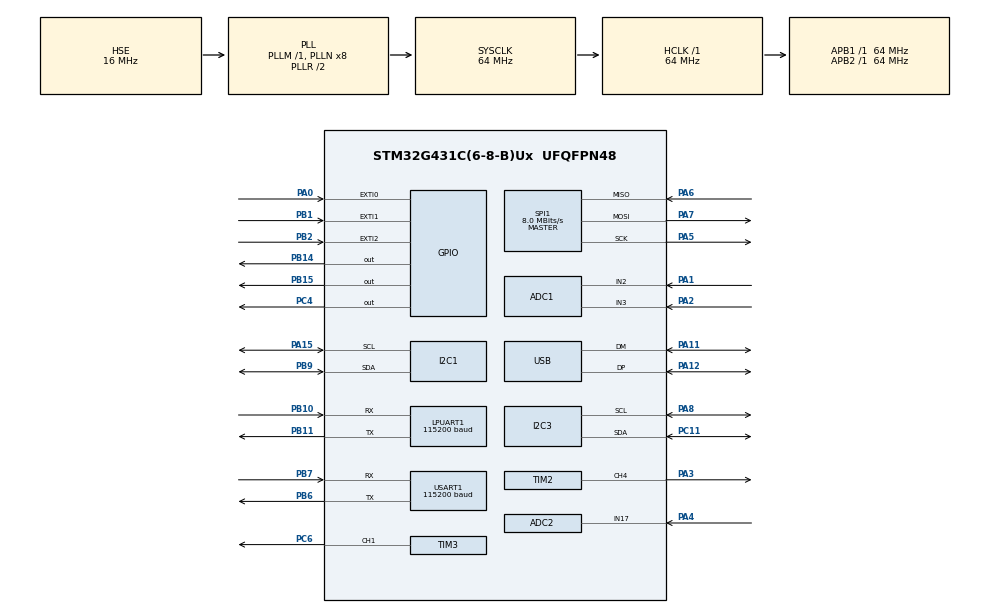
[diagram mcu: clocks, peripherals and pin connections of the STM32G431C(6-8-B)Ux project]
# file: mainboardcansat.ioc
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ADC1.Channel-0\#ChannelRegularConversion=ADC_CHANNEL_VREFINT
ADC1.Channel-1\#ChannelRegularConversion=ADC_CHANNEL_TEMPSENSOR_ADC1
ADC1.Channel-2\#ChannelRegularConversion=ADC_CHANNEL_2
ADC1.Channel-3\#ChannelRegularConversion=ADC_CHANNEL_3
ADC1.ContinuousConvMode=ENABLE
ADC1.EOCSelection=ADC_EOC_SEQ_CONV
ADC1.ExternalTrigConv=ADC_EXTERNALTRIG_T4_TRGO
ADC1.NbrOfConversion=4
ADC1.NbrOfConversionFlag=1
ADC1.OffsetNumber-0\#ChannelRegularConversion=ADC_OFFSET_NONE
ADC1.OffsetNumber-1\#ChannelRegularConversion=ADC_OFFSET_NONE
ADC1.OffsetNumber-2\#ChannelRegularConversion=ADC_OFFSET_NONE
ADC1.OffsetNumber-3\#ChannelRegularConversion=ADC_OFFSET_NONE
ADC1.Rank-0\#ChannelRegularConversion=1
ADC1.Rank-1\#ChannelRegularConversion=2
ADC1.Rank-2\#ChannelRegularConversion=3
ADC1.Rank-3\#ChannelRegularConversion=4
ADC1.SamplingTime-0\#ChannelRegularConversion=ADC_SAMPLETIME_640CYCLES_5
ADC1.SamplingTime-1\#ChannelRegularConversion=ADC_SAMPLETIME_640CYCLES_5
ADC1.SamplingTime-2\#ChannelRegularConversion=ADC_SAMPLETIME_640CYCLES_5
ADC1.SamplingTime-3\#ChannelRegularConversion=ADC_SAMPLETIME_640CYCLES_5
ADC1.master=1
ADC2.Channel-0\#ChannelRegularConversion=ADC_CHANNEL_17
ADC2.ContinuousConvMode=ENABLE
ADC2.ExternalTrigConv=ADC_EXTERNALTRIG_T4_TRGO
ADC2.NbrOfConversionFlag=1
ADC2.OffsetNumber-0\#ChannelRegularConversion=ADC_OFFSET_NONE
ADC2.Rank-0\#ChannelRegularConversion=1
ADC2.SamplingTime-0\#ChannelRegularConversion=ADC_SAMPLETIME_640CYCLES_5
Dma.ADC1.2.Direction=DMA_PERIPH_TO_MEMORY
Dma.ADC1.2.EventEnable=DISABLE
Dma.ADC1.2.Instance=DMA1_Channel3
Dma.ADC1.2.MemDataAlignment=DMA_MDATAALIGN_HALFWORD
Dma.ADC1.2.MemInc=DMA_MINC_ENABLE
Dma.ADC1.2.Mode=DMA_CIRCULAR
Dma.ADC1.2.PeriphDataAlignment=DMA_PDATAALIGN_HALFWORD
Dma.ADC1.2.PeriphInc=DMA_PINC_DISABLE
Dma.ADC1.2.Polarity=HAL_DMAMUX_REQ_GEN_RISING
Dma.ADC1.2.Priority=DMA_PRIORITY_LOW
Dma.ADC1.2.RequestNumber=1
Dma.ADC1.2.SignalID=NONE
Dma.ADC1.2.SyncEnable=DISABLE
Dma.ADC1.2.SyncPolarity=HAL_DMAMUX_SYNC_NO_EVENT
Dma.ADC1.2.SyncRequestNumber=1
Dma.ADC1.2.SyncSignalID=NONE
Dma.ADC2.4.Direction=DMA_PERIPH_TO_MEMORY
Dma.ADC2.4.EventEnable=DISABLE
Dma.ADC2.4.Instance=DMA1_Channel5
Dma.ADC2.4.MemDataAlignment=DMA_MDATAALIGN_HALFWORD
Dma.ADC2.4.MemInc=DMA_MINC_ENABLE
Dma.ADC2.4.Mode=DMA_CIRCULAR
Dma.ADC2.4.PeriphDataAlignment=DMA_PDATAALIGN_HALFWORD
Dma.ADC2.4.PeriphInc=DMA_PINC_DISABLE
Dma.ADC2.4.Polarity=HAL_DMAMUX_REQ_GEN_RISING
Dma.ADC2.4.Priority=DMA_PRIORITY_LOW
Dma.ADC2.4.RequestNumber=1
Dma.ADC2.4.SignalID=NONE
Dma.ADC2.4.SyncEnable=DISABLE
Dma.ADC2.4.SyncPolarity=HAL_DMAMUX_SYNC_NO_EVENT
Dma.ADC2.4.SyncRequestNumber=1
Dma.ADC2.4.SyncSignalID=NONE
Dma.LPUART1_RX.0.Direction=DMA_PERIPH_TO_MEMORY
Dma.LPUART1_RX.0.EventEnable=DISABLE
Dma.LPUART1_RX.0.Instance=DMA1_Channel1
Dma.LPUART1_RX.0.MemDataAlignment=DMA_MDATAALIGN_BYTE
Dma.LPUART1_RX.0.MemInc=DMA_MINC_ENABLE
Dma.LPUART1_RX.0.Mode=DMA_CIRCULAR
Dma.LPUART1_RX.0.PeriphDataAlignment=DMA_PDATAALIGN_BYTE
Dma.LPUART1_RX.0.PeriphInc=DMA_PINC_DISABLE
Dma.LPUART1_RX.0.Polarity=HAL_DMAMUX_REQ_GEN_RISING
Dma.LPUART1_RX.0.Priority=DMA_PRIORITY_LOW
Dma.LPUART1_RX.0.RequestNumber=1
Dma.LPUART1_RX.0.SignalID=NONE
Dma.LPUART1_RX.0.SyncEnable=DISABLE
Dma.LPUART1_RX.0.SyncPolarity=HAL_DMAMUX_SYNC_NO_EVENT
Dma.LPUART1_RX.0.SyncRequestNumber=1
Dma.LPUART1_RX.0.SyncSignalID=NONE
Dma.LPUART1_TX.1.Direction=DMA_MEMORY_TO_PERIPH
Dma.LPUART1_TX.1.EventEnable=DISABLE
Dma.LPUART1_TX.1.Instance=DMA1_Channel2
Dma.LPUART1_TX.1.MemDataAlignment=DMA_MDATAALIGN_BYTE
Dma.LPUART1_TX.1.MemInc=DMA_MINC_ENABLE
Dma.LPUART1_TX.1.Mode=DMA_NORMAL
Dma.LPUART1_TX.1.PeriphDataAlignment=DMA_PDATAALIGN_BYTE
Dma.LPUART1_TX.1.PeriphInc=DMA_PINC_DISABLE
Dma.LPUART1_TX.1.Polarity=HAL_DMAMUX_REQ_GEN_RISING
Dma.LPUART1_TX.1.Priority=DMA_PRIORITY_LOW
Dma.LPUART1_TX.1.RequestNumber=1
Dma.LPUART1_TX.1.SignalID=NONE
Dma.LPUART1_TX.1.SyncEnable=DISABLE
Dma.LPUART1_TX.1.SyncPolarity=HAL_DMAMUX_SYNC_NO_EVENT
Dma.LPUART1_TX.1.SyncRequestNumber=1
Dma.LPUART1_TX.1.SyncSignalID=NONE
Dma.Request0=LPUART1_RX
Dma.Request1=LPUART1_TX
Dma.Request2=ADC1
Dma.Request3=USART1_RX
Dma.Request4=ADC2
Dma.Request5=TIM2_CH4
Dma.TIM2_CH4.5.Direction=DMA_MEMORY_TO_PERIPH
Dma.TIM2_CH4.5.EventEnable=DISABLE
Dma.TIM2_CH4.5.Instance=DMA1_Channel6
Dma.TIM2_CH4.5.MemDataAlignment=DMA_MDATAALIGN_WORD
Dma.TIM2_CH4.5.MemInc=DMA_MINC_ENABLE
Dma.TIM2_CH4.5.Mode=DMA_NORMAL
Dma.TIM2_CH4.5.PeriphDataAlignment=DMA_PDATAALIGN_WORD
Dma.TIM2_CH4.5.PeriphInc=DMA_PINC_DISABLE
Dma.TIM2_CH4.5.Polarity=HAL_DMAMUX_REQ_GEN_RISING
Dma.TIM2_CH4.5.Priority=DMA_PRIORITY_LOW
Dma.TIM2_CH4.5.RequestNumber=1
Dma.TIM2_CH4.5.SignalID=NONE
Dma.TIM2_CH4.5.SyncEnable=DISABLE
Dma.TIM2_CH4.5.SyncPolarity=HAL_DMAMUX_SYNC_NO_EVENT
Dma.TIM2_CH4.5.SyncRequestNumber=1
Dma.TIM2_CH4.5.SyncSignalID=NONE
Dma.USART1_RX.3.Direction=DMA_PERIPH_TO_MEMORY
Dma.USART1_RX.3.EventEnable=DISABLE
Dma.USART1_RX.3.Instance=DMA1_Channel4
Dma.USART1_RX.3.MemDataAlignment=DMA_MDATAALIGN_BYTE
Dma.USART1_RX.3.MemInc=DMA_MINC_ENABLE
Dma.USART1_RX.3.Mode=DMA_CIRCULAR
Dma.USART1_RX.3.PeriphDataAlignment=DMA_PDATAALIGN_BYTE
Dma.USART1_RX.3.PeriphInc=DMA_PINC_DISABLE
Dma.USART1_RX.3.Polarity=HAL_DMAMUX_REQ_GEN_RISING
Dma.USART1_RX.3.Priority=DMA_PRIORITY_LOW
Dma.USART1_RX.3.RequestNumber=1
Dma.USART1_RX.3.SignalID=NONE
Dma.USART1_RX.3.SyncEnable=DISABLE
Dma.USART1_RX.3.SyncPolarity=HAL_DMAMUX_SYNC_NO_EVENT
Dma.USART1_RX.3.SyncRequestNumber=1
Dma.USART1_RX.3.SyncSignalID=NONE
I2C1.Timing=0x10B17DB5
I2C3.Timing=0x10B17DB5
LPUART1.BaudRate=115200
Mcu.Family=STM32G4
Mcu.Name=STM32G431C(6-8-B)Ux
Mcu.Package=UFQFPN48
NVIC.DMA1_Channel1_IRQn=true\:0\:0\:false\:false\:true\:false\:true\:true
NVIC.DMA1_Channel2_IRQn=true\:0\:0\:false\:false\:true\:false\:true\:true
NVIC.DMA1_Channel3_IRQn=true\:0\:0\:false\:false\:true\:false\:true\:true
NVIC.DMA1_Channel4_IRQn=true\:0\:0\:false\:false\:true\:false\:true\:true
NVIC.DMA1_Channel5_IRQn=true\:0\:0\:false\:false\:true\:false\:true\:true
NVIC.DMA1_Channel6_IRQn=true\:0\:0\:false\:false\:true\:false\:true\:true
NVIC.EXTI0_IRQn=true\:0\:0\:false\:false\:true\:true\:true\:true
NVIC.EXTI1_IRQn=true\:0\:0\:false\:false\:true\:true\:true\:true
NVIC.EXTI2_IRQn=true\:0\:0\:false\:false\:true\:true\:true\:true
NVIC.LPUART1_IRQn=true\:0\:0\:false\:false\:true\:true\:true\:true
NVIC.PriorityGroup=NVIC_PRIORITYGROUP_4
NVIC.TIM2_IRQn=true\:0\:0\:false\:false\:true\:true\:true\:true
NVIC.TIM3_IRQn=true\:0\:0\:false\:false\:true\:true\:true\:true
NVIC.TIM4_IRQn=true\:0\:0\:false\:false\:true\:true\:true\:true
NVIC.USART1_IRQn=true\:0\:0\:false\:false\:true\:true\:true\:true
PA0.Signal=GPXTI0
PA1.Mode=IN2-Single-Ended
PA1.Signal=ADC1_IN2
PA11.Mode=Device
PA11.Signal=USB_DM
PA12.Mode=Device
PA12.Signal=USB_DP
PA13.Mode=Trace_Asynchronous_SW
PA13.Signal=SYS_JTMS-SWDIO
PA14.Mode=Trace_Asynchronous_SW
PA14.Signal=SYS_JTCK-SWCLK
PA15.Mode=I2C
PA15.Signal=I2C1_SCL
PA2.Mode=IN3-Single-Ended
PA2.Signal=ADC1_IN3
PA3.Signal=S_TIM2_CH4
PA4.Mode=IN17-Single-Ended
PA4.Signal=ADC2_IN17
PA5.Mode=Full_Duplex_Master
PA5.Signal=SPI1_SCK
PA6.Mode=Full_Duplex_Master
PA6.Signal=SPI1_MISO
PA7.Mode=Full_Duplex_Master
PA7.Signal=SPI1_MOSI
PA8.Mode=I2C
PA8.Signal=I2C3_SCL
PB1.Signal=GPXTI1
PB10.Mode=Asynchronous
PB10.Signal=LPUART1_RX
PB11.Mode=Asynchronous
PB11.Signal=LPUART1_TX
PB14.Signal=GPIO_Output
PB15.Signal=GPIO_Output
PB2.Signal=GPXTI2
PB3.Mode=Trace_Asynchronous_SW
PB3.Signal=SYS_JTDO-SWO
PB6.Mode=Asynchronous
PB6.Signal=USART1_TX
PB7.Mode=Asynchronous
PB7.Signal=USART1_RX
PB9.Mode=I2C
PB9.Signal=I2C1_SDA
PC11.Mode=I2C
PC11.Signal=I2C3_SDA
PC4.Signal=GPIO_Output
PC6.Signal=S_TIM3_CH1
PF0-OSC_IN.Mode=HSE-External-Oscillator
PF0-OSC_IN.Signal=RCC_OSC_IN
PF1-OSC_OUT.Mode=HSE-External-Oscillator
PF1-OSC_OUT.Signal=RCC_OSC_OUT
ProjectManager.HeapSize=0x200
ProjectManager.StackSize=0x400
ProjectManager.TargetToolchain=STM32CubeIDE
RCC.ADC12Freq_Value=64000000
RCC.AHBFreq_Value=64000000
RCC.APB1Freq_Value=64000000
RCC.APB1TimFreq_Value=64000000
RCC.APB2Freq_Value=64000000
RCC.APB2TimFreq_Value=64000000
RCC.CK48CLockSelection=RCC_USBCLKSOURCE_HSI48
RCC.CortexFreq_Value=64000000
RCC.EXTERNAL_CLOCK_VALUE=12288000
RCC.HCLKFreq_Value=64000000
RCC.HSE_VALUE=16000000
RCC.HSI48_VALUE=48000000
RCC.HSI_VALUE=16000000
RCC.LSE_VALUE=32768
RCC.PLLSourceVirtual=RCC_PLLSOURCE_HSE
RCC.SYSCLKFreq_VALUE=64000000
RCC.SYSCLKSource=RCC_SYSCLKSOURCE_PLLCLK
RCC.USART1CLockSelection=RCC_USART1CLKSOURCE_HSI
RCC.USBFreq_Value=48000000
RCC.VCOOutputFreq_Value=128000000
SH.S_TIM2_CH4.0=TIM2_CH4,PWM Generation4 CH4
SH.S_TIM3_CH1.0=TIM3_CH1,PWM Generation1 CH1
SPI1.BaudRatePrescaler=SPI_BAUDRATEPRESCALER_8
SPI1.CalculateBaudRate=8.0 MBits/s
SPI1.DataSize=SPI_DATASIZE_8BIT
SPI1.Direction=SPI_DIRECTION_2LINES
SPI1.Mode=SPI_MODE_MASTER
SPI1.VirtualType=VM_MASTER
TIM2.Channel-PWM\ Generation4\ CH4=TIM_CHANNEL_4
TIM2.PeriodNoDither=80-1
TIM3.Channel-PWM\ Generation1\ CH1=TIM_CHANNEL_1
TIM3.PeriodNoDither=20000-1
TIM3.Prescaler=64-1
TIM3.PulseNoDither_1=1000
TIM4.Channel-PWM\ Generation3\ No\ Output=TIM_CHANNEL_3
TIM4.PeriodNoDither=999
TIM4.Prescaler=63
TIM4.TIM_MasterOutputTrigger=TIM_TRGO_UPDATE
USART1.BaudRate=115200
USART1.VirtualMode-Asynchronous=VM_ASYNC
VP_ADC1_TempSens_Input.Mode=IN-TempSens
VP_ADC1_Vref_Input.Mode=IN-Vrefint
VP_FATFS_VS_Generic.Mode=User_defined
VP_SYS_VS_DBSignals.Mode=DisableDeadBatterySignals
VP_TIM3_VS_ClockSourceINT.Mode=Internal
VP_TIM4_VS_ClockSourceINT.Mode=Internal
VP_TIM4_VS_no_output3.Mode=PWM Generation3 No Output
board=custom

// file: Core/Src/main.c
/* USER CODE BEGIN Header */
/**
  ******************************************************************************
  * @file           : main.c
  * @brief          : Main program body
  ******************************************************************************
  * @attention
  *
  * Copyright (c) 2024 STMicroelectronics.
  * All rights reserved.
  *
  * This software is licensed under terms that can be found in the LICENSE file
  * in the root directory of this software component.
  * If no LICENSE file comes with this software, it is provided AS-IS.
  *
  ******************************************************************************
  */
/* USER CODE END Header */
#include "main.h"
#include "adc.h"
#include "dma.h"
#include "app_fatfs.h"
#include "i2c.h"
#include "usart.h"
#include "spi.h"
#include "tim.h"
#include "usb.h"
#include "gpio.h"

/* USER CODE BEGIN Includes */
#include "fatfs_sd.h"
#include "nmea_parse.h"
#include "baro.h"
#include "6axis.h"
#include "led.h"

/* USER CODE END Includes */

/* USER CODE BEGIN PV */
#define PIN_ENABLE GPIO_PIN_15
#define LED_ROUGE GPIO_PIN_14

FATFS fs;
FATFS *pfs;
FIL fil;
FRESULT fres;
DWORD fre_clust;
uint32_t total, free1;
uint8_t buffer[100] = "";

uint8_t tarvos_TX_Buffer[TarvosTxBufferSize];
uint8_t tarvos_TX_Tampon[TarvosTxTamponSize];
uint8_t tarvos_RX_Buffer[TarvosRxBufferSize];
uint8_t tarvos_RX_Tampon[TarvosRxTamponSize];
uint8_t GPS_RX_Buffer[GPSRxBufferSize];
uint8_t GPS_RX_Tampon[GPSRxTamponSize];

uint8_t usart_buffer[BUFFER_SIZE];

uint8_t SD_Card_Write_Buffer[256];

int GPSbufferoldpos=0;
int GPSbuffernewpos=0;
int TarvosRXbufferoldpos=0;
int TarvosRXbuffernewpos=0;

uint8_t commandtarvos[]={0x02,0x00,};

uint16_t rawADCdata[5];
float temp=0;
float vrefint=0;
float vbat=0;
float current=0;
float power=0;
float vexternalsensor=0;

char envoi[200];
char accel_gyro[33];
char temperature_6axis[20];
char temperature_baro[20];
char pression[20];

uint16_t accel_data[3];
uint16_t gyro_data[3];

extern int flag_envoi;
extern int flag_sensor;
int erreur ;
double temp_data;

GPS myDataGPS;
AXIS6 myData6AXIS ;
BARO myDataBaro ;

char pos[10];
char altitude[10];

extern int position_servo;
extern int flag_servo;
int flag_ouverture = 0;

int hauteur_0=0;

int pointnull = 123;

LEDDATARGB LEDDATA[LED_NUM];
uint8_t LEDDMABUF[DMABUFLEN];
uint8_t DMA_COMPLETE_FLAG=0;
/* USER CODE END PV */

void SystemClock_Config(void);

/* USER CODE BEGIN 0 */
void HAL_TIM_PWM_PulseFinishedCallback(TIM_HandleTypeDef *htim){

	LED_Callback();
}

/* USER CODE END 0 */

int main(void)
{

  /* MCU Configuration--------------------------------------------------------*/

  /* Reset of all peripherals, Initializes the Flash interface and the Systick. */
  HAL_Init();

  /* Configure the system clock */
  SystemClock_Config();

  /* Initialize all configured peripherals */
  MX_GPIO_Init();
  MX_DMA_Init();
  MX_SPI1_Init();
  MX_USB_PCD_Init();
  if (MX_FATFS_Init() != APP_OK) {
    Error_Handler();
  }
  MX_I2C3_Init();
  MX_LPUART1_UART_Init();
  MX_ADC1_Init();
  MX_USART1_UART_Init();
  MX_TIM3_Init();
  MX_TIM4_Init();
  MX_ADC2_Init();
  MX_I2C1_Init();
  MX_TIM2_Init();
  /* USER CODE BEGIN 2 */

  HAL_ADC_Start_DMA(&hadc1,(uint16_t*)rawADCdata, 5);
  HAL_ADC_Start_DMA(&hadc2,(uint16_t*)rawADCdata+4, 1);
  HAL_TIM_Base_Start_IT(&htim4);

  __HAL_TIM_SET_COMPARE(&htim3, TIM_CHANNEL_1,1520);
  HAL_TIM_PWM_Start(&htim3, TIM_CHANNEL_1);

  HAL_GPIO_WritePin(GPIOB,PIN_ENABLE,GPIO_PIN_SET);
  HAL_GPIO_WritePin(GPIOB,LED_ROUGE,GPIO_PIN_RESET);

  HAL_Delay(100);
  HAL_UART_Abort(&huart1);
  HAL_UART_Receive_DMA(&huart1, (uint8_t *)GPS_RX_Tampon, GPSRxTamponSize);

  HAL_Delay(100);
  HAL_UART_Abort(&hlpuart1);
  HAL_UART_Receive_DMA(&hlpuart1, (char*)usart_buffer, BUFFER_SIZE);

  LED_Init();

  f_mount(&fs, "", 0);

// f_open(&fil, "debut.txt", FA_OPEN_ALWAYS | FA_READ | FA_WRITE);
//
// f_getfree("", &fre_clust, &pfs);
//
//  total = (uint32_t)((pfs->n_fatent - 2) * pfs->csize * 0.5);
//  free1 = (uint32_t)(fre_clust * pfs->csize * 0.5);
//
//  snprintf((uint8_t *) SD_Card_Write_Buffer,256,"adc1=%d,adc2=%d,adc3=%d,adc4=%d,adc5=%d\n\r",rawADCdata[0],rawADCdata[1],rawADCdata[2],rawADCdata[3],rawADCdata[4]);
//
//  f_puts("test", &fil);
//  f_puts((uint8_t *) SD_Card_Write_Buffer, &fil);
//  snprintf((uint8_t *) SD_Card_Write_Buffer,256,"adc1=%d,adc2=%d,adc3=%d,adc4=%d,adc5=%d\n\r",rawADCdata[0],rawADCdata[1],rawADCdata[2],rawADCdata[3],rawADCdata[4]);
//  f_puts((uint8_t *) SD_Card_Write_Buffer, &fil);
//  f_close(&fil);
//  /* Unmount SDCARD */
//  f_mount(NULL, "", 1);

  int indexboucle=0;
  int tarvosen=0;
  f_open(&fil, "adc.txt", FA_OPEN_ALWAYS | FA_READ | FA_WRITE);

  		   f_getfree("", &fre_clust, &pfs);

  /* USER CODE END 2 */

  /* Infinite loop */
  /* USER CODE BEGIN WHILE */
  Init_HighPerf_Mode_6_axis();
  INIT_PERM_TARVOS(0x15, 0x16); //mon adresse est 1° et on envoit à 2°
  INIT_BARO();

  while (1)
   {
	//Servo entre 1350 et 1550

	nmea_parse(&myDataGPS,(uint8_t*) GPS_RX_Buffer);
	//Évitement de l'ouverture
	if (myDataGPS.altitude - hauteur_0 > 60 && flag_ouverture == 0){
		flag_ouverture = 1 ;
	}
	//Séparation des parties du CANSAT
	if (myDataGPS.altitude - hauteur_0 < 60 && myDataGPS.altitude != 0 && flag_ouverture == 1) {
	    char trame[51];  // Augmenté pour inclure l'astérisque et le '\0'
	    char altitude_str[10];

	    // Conversion de l'altitude en chaîne de caractères
	    strcpy(altitude_str, conv_float_to_char(myDataGPS.altitude));

	    // Construction du message
	    strcpy(trame, "$2,le parachute s'est ouvert à ");
	    strcat(trame, altitude_str);
	    strcat(trame, "*");

	    // Action sur le timer
	    __HAL_TIM_SET_COMPARE(&htim3, TIM_CHANNEL_1, 1350);

	    // Envoi du message
	    //SEND_DATA_NETW(trame, 0x82, 0x16, strlen(trame));
	}
	//Lecture de la valeur du servo
	if (flag_servo == 1){
		__HAL_TIM_SET_COMPARE(&htim3, TIM_CHANNEL_1,position_servo);
		//HAL_Delay(1000);
		flag_servo = 0 ;
	}
	//Batterie faible
	if (vbat <= 7){
		//SEND_DATA_NETW("$2,batterie faible#", 0x82, 0x16, strlen("$2,batterie faible#"));
	}
	// Problème de GPS
	if (myDataGPS.fix == 0){
		SEND_DATA_NETW("$2,pas de GPS#", 0x82, 0x16, strlen("$2,pas de GPS#"));
	}
	//Envoi des données selon le timer
	if (flag_sensor == 1){
		Read_sensor_data(&myData6AXIS);
//		BARO_FILL(&myDataBaro);
		conversion_char(envoi);
		SEND_DATA_NETW("$23,42,N,2,E,14,120,1013,2025,01,18,14,30,45*", 0x82, 0x16, strlen("$23,42,N,2,E,14,120,1013,2025,01,18,14,30,45*"));

		//SEND_DATA_NETW(envoi, 0x82, 0x16, strlen(envoi));
		flag_sensor = 0;
	}

	LED_Setcolour(0, 255, 0, 0);
	LED_Setcolour(1, 0, 255, 255);
	LED_Update();

    /* USER CODE END WHILE */

  }
}

void SystemClock_Config(void)
{
  RCC_OscInitTypeDef RCC_OscInitStruct = {0};
  RCC_ClkInitTypeDef RCC_ClkInitStruct = {0};

  /** Configure the main internal regulator output voltage
  */
  HAL_PWREx_ControlVoltageScaling(PWR_REGULATOR_VOLTAGE_SCALE1);

  /** Initializes the RCC Oscillators according to the specified parameters
  * in the RCC_OscInitTypeDef structure.
  */
  RCC_OscInitStruct.OscillatorType = RCC_OSCILLATORTYPE_HSI|RCC_OSCILLATORTYPE_HSI48
                              |RCC_OSCILLATORTYPE_HSE;
  RCC_OscInitStruct.HSEState = RCC_HSE_ON;
  RCC_OscInitStruct.HSIState = RCC_HSI_ON;
  RCC_OscInitStruct.HSICalibrationValue = RCC_HSICALIBRATION_DEFAULT;
  RCC_OscInitStruct.HSI48State = RCC_HSI48_ON;
  RCC_OscInitStruct.PLL.PLLState = RCC_PLL_ON;
  RCC_OscInitStruct.PLL.PLLSource = RCC_PLLSOURCE_HSE;
  RCC_OscInitStruct.PLL.PLLM = RCC_PLLM_DIV1;
  RCC_OscInitStruct.PLL.PLLN = 8;
  RCC_OscInitStruct.PLL.PLLP = RCC_PLLP_DIV2;
  RCC_OscInitStruct.PLL.PLLQ = RCC_PLLQ_DIV2;
  RCC_OscInitStruct.PLL.PLLR = RCC_PLLR_DIV2;
  if (HAL_RCC_OscConfig(&RCC_OscInitStruct) != HAL_OK)
  {
    Error_Handler();
  }

  /** Initializes the CPU, AHB and APB buses clocks
  */
  RCC_ClkInitStruct.ClockType = RCC_CLOCKTYPE_HCLK|RCC_CLOCKTYPE_SYSCLK
                              |RCC_CLOCKTYPE_PCLK1|RCC_CLOCKTYPE_PCLK2;
  RCC_ClkInitStruct.SYSCLKSource = RCC_SYSCLKSOURCE_PLLCLK;
  RCC_ClkInitStruct.AHBCLKDivider = RCC_SYSCLK_DIV1;
  RCC_ClkInitStruct.APB1CLKDivider = RCC_HCLK_DIV1;
  RCC_ClkInitStruct.APB2CLKDivider = RCC_HCLK_DIV1;

  if (HAL_RCC_ClockConfig(&RCC_ClkInitStruct, FLASH_LATENCY_2) != HAL_OK)
  {
    Error_Handler();
  }
}

/* USER CODE BEGIN 4 */

void uint16_to_char_buffer(uint16_t *source, char *destination, size_t taille) {
  for (size_t i = 0; i < taille; i++) {
    destination[i] = (char)source[i];
  }
}

void conversion_char(char *envoi){
    size_t len;
    memset(envoi, '0', strlen(envoi));  // Remplit la chaîne de '0'
    envoi[0]='$';
    envoi[1]='1';
    envoi[2]=',';
    snprintf(accel_gyro, accel_gyro, "%u , %u , %u , %u,%u,%u,",
                           myData6AXIS.AccelX, myData6AXIS.AccelY, myData6AXIS.AccelZ,
    					   myData6AXIS.GyroX, myData6AXIS.GyroY, myData6AXIS.GyroZ);
    convertIntToChar(myData6AXIS, accel_gyro, 20);
    len = strlen(envoi);
    for (int i = 0; i<(sizeof(accel_gyro));i++){
    	envoi[i+len] = accel_gyro[i];
    }
    len = strlen(envoi);
    conv_float_to_char(temperature_6axis, sizeof(temperature_6axis),myData6AXIS.temp);
    for (int i = 0; i<(sizeof(temperature_6axis));i++){
        	envoi[i+len] = temperature_6axis[i];
    }
    envoi[strlen(envoi)]=',';
    len = strlen(envoi);
    mef_pos(pos, sizeof(pos),myDataGPS.latitude);
    for (int i = 0; i<(sizeof(pos));i++){
            	envoi[i+len] = pos[i];
    }
    envoi[strlen(envoi)]=',';
    len = strlen(envoi);
	mef_pos(pos, sizeof(pos),myDataGPS.longitude);
	for (int i = 0; i<(sizeof(pos));i++){
				envoi[i+len] = pos[i];
	}
    envoi[strlen(envoi)]=',';
    len = strlen(envoi);
    conv_float_to_char(altitude,sizeof(altitude),myDataGPS.altitude);
    for (int i = 0; i<(sizeof(altitude));i++){
    				envoi[i+len] = altitude[i];
    }
    envoi[strlen(envoi)]=',';
	len = strlen(envoi);
	conv_float_to_char(pression,sizeof(pression),myDataBaro.Pression);
	for (int i = 0; i<(sizeof(pression));i++){
					envoi[i+len] = pression[i];
	}
	envoi[strlen(envoi)]=',';
	len = strlen(envoi);
	conv_float_to_char(temperature_baro,sizeof(temperature_baro),myDataBaro.Temperature);
	for (int i = 0; i<(sizeof(temperature_baro));i++){
					envoi[i+len] = temperature_baro[i];
	}
    envoi[strlen(envoi)]='#';
}

void conv_float_to_char(char *buffer, size_t buffer_size, float temperature) {
    snprintf(buffer, buffer_size, "%.1f", temperature);
}

void mef_pos(char *buffer, size_t buffer_size, double position) {
    snprintf(buffer, buffer_size, "%.7f", position);
}

void Set_Servo_Position(uint16_t pulse_width) {
    __HAL_TIM_SET_COMPARE(&htim3, TIM_CHANNEL_1, pulse_width);
}

void convertIntToChar(AXIS6 data, char *buffer, size_t buffer_size) {
    snprintf(buffer, buffer_size,
             "%d,%d,%d,%d,%d,%d",
             data.AccelX, data.AccelY, data.AccelZ,
             data.GyroX, data.GyroY, data.GyroZ);
}
/* USER CODE END 4 */

void Error_Handler(void)
{
  __disable_irq();
  while (1)
  {
  }
}
